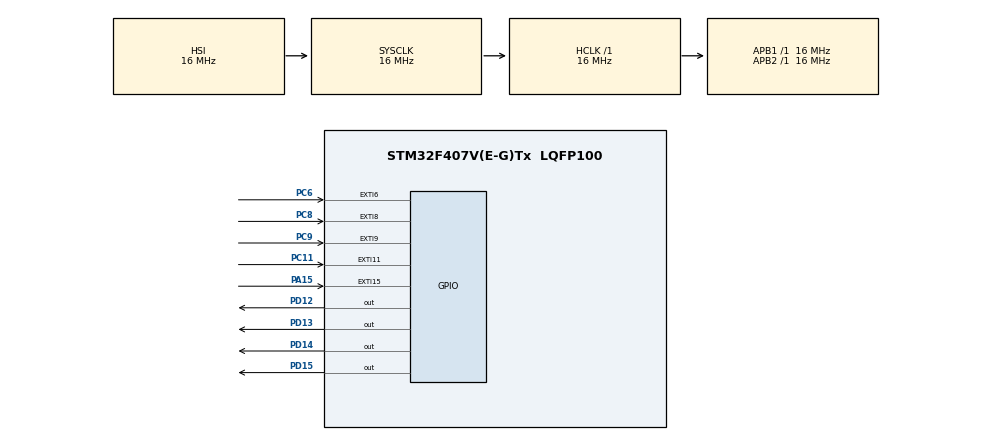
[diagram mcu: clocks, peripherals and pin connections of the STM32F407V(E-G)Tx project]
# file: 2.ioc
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Mcu.Family=STM32F4
Mcu.Name=STM32F407V(E-G)Tx
Mcu.Package=LQFP100
NVIC.EXTI15_10_IRQn=true\:0\:0\:false\:false\:true\:true\:true
NVIC.EXTI9_5_IRQn=true\:0\:0\:false\:false\:true\:true\:true
NVIC.PriorityGroup=NVIC_PRIORITYGROUP_4
PA15.GPIO_ModeDefaultEXTI=GPIO_MODE_IT_FALLING
PA15.Signal=GPXTI15
PC11.GPIO_ModeDefaultEXTI=GPIO_MODE_IT_FALLING
PC11.Signal=GPXTI11
PC6.GPIO_ModeDefaultEXTI=GPIO_MODE_IT_FALLING
PC6.Signal=GPXTI6
PC8.GPIO_ModeDefaultEXTI=GPIO_MODE_IT_FALLING
PC8.Signal=GPXTI8
PC9.GPIO_ModeDefaultEXTI=GPIO_MODE_IT_FALLING
PC9.Signal=GPXTI9
PD12.Signal=GPIO_Output
PD13.Signal=GPIO_Output
PD14.Signal=GPIO_Output
PD15.Signal=GPIO_Output
ProjectManager.HeapSize=0x200
ProjectManager.StackSize=0x400
ProjectManager.TargetToolchain=STM32CubeIDE
RCC.AHBFreq_Value=16000000
RCC.APB1Freq_Value=16000000
RCC.APB2Freq_Value=16000000
RCC.CortexFreq_Value=16000000
RCC.HSE_VALUE=25000000
RCC.HSI_VALUE=16000000
RCC.LSE_VALUE=32768
RCC.SYSCLKFreq_VALUE=16000000
RCC.VCOOutputFreq_Value=192000000
board=custom

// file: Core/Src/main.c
/* USER CODE BEGIN Header */
/**
  ******************************************************************************
  * @file           : main.c
  * @brief          : Main program body
  ******************************************************************************
  * @attention
  *
  * <h2><center>&copy; Copyright (c) 2021 STMicroelectronics.
  * All rights reserved.</center></h2>
  *
  * This software component is licensed by ST under BSD 3-Clause license,
  * the "License"; You may not use this file except in compliance with the
  * License. You may obtain a copy of the License at:
  *                        opensource.org/licenses/BSD-3-Clause
  *
  ******************************************************************************
  */
/* USER CODE END Header */
#include "main.h"

/* USER CODE BEGIN PV */
	uint8_t last_state = 1;
	uint16_t speed = 100;
	uint16_t LD_Pin = GPIO_PIN_12;
	enum States{
		on_off,
		state_1,
		state_2,
		state_3,
		state_4
	}state;

/* USER CODE END PV */

void SystemClock_Config(void);
static void MX_GPIO_Init(void);

/* USER CODE BEGIN 0 */
void HAL_GPIO_EXTI_Callback(uint16_t GPIO_Pin){
	  switch(GPIO_Pin){
	  	  case GPIO_PIN_11:
	  		  if(state == 0) break;
	  		  if(state == 4) state = 0;
	  		  state += 1;
	  		  break;
	  	  case GPIO_PIN_9:
	  		  if(state == 0) break;
	  		  if(state == 1) state = 5;
	  		  state -= 1;
	  		  break;
	  	  case GPIO_PIN_8:
	  		  if(state == 0) break;
	  		  speed += 20;
	  		  break;
	  	  case GPIO_PIN_6:
	  		  if(state == 0) break;
	  		  if(speed > 20)
	  		  speed -= 20;
	  		  break;
	  	  case GPIO_PIN_15:
	  		  if(state == 0){
	  			  state = last_state;
	  			  break;
	  		  }
	  		  last_state = state;
	  		  state = 0;
	  		  break;
	  }
  }
/* USER CODE END 0 */

int main(void)
{

  /* MCU Configuration--------------------------------------------------------*/

  /* Reset of all peripherals, Initializes the Flash interface and the Systick. */
  HAL_Init();

  /* Configure the system clock */
  SystemClock_Config();

  /* Initialize all configured peripherals */
  MX_GPIO_Init();

  /* Infinite loop */
  /* USER CODE BEGIN WHILE */
  while (1)
  {
	  switch(state){
	  	  case 1:
	  		  LD_Pin = GPIO_PIN_12;
	  		  for(uint8_t i = 0; i < 4; i++){
	  			  HAL_GPIO_WritePin(GPIOD, LD_Pin, GPIO_PIN_SET);
	  			  HAL_Delay(speed);
	  			  HAL_GPIO_WritePin(GPIOD, LD_Pin, GPIO_PIN_RESET);
	  			  HAL_Delay(speed);
	  			  LD_Pin *= 2;
	  		  }
	  		  break;
	  	  case 2:
	  		  LD_Pin = GPIO_PIN_15;
	  		  for(uint8_t i = 0; i < 4; i++){
	  			  HAL_GPIO_WritePin(GPIOD, LD_Pin, GPIO_PIN_SET);
	  			  HAL_Delay(speed);
	  			  HAL_GPIO_WritePin(GPIOD, LD_Pin, GPIO_PIN_RESET);
	  			  HAL_Delay(speed);
	  			  LD_Pin /= 2;
	  		  }
	  		  break;
	  	  case 3:
	  		  	  HAL_GPIO_WritePin(GPIOD, GPIO_PIN_15 | GPIO_PIN_14 | GPIO_PIN_13 | GPIO_PIN_12, GPIO_PIN_SET);
	  			  HAL_Delay(speed);
	  			  HAL_GPIO_WritePin(GPIOD, GPIO_PIN_15 | GPIO_PIN_14 | GPIO_PIN_13 | GPIO_PIN_12, GPIO_PIN_RESET);
	  			  HAL_Delay(speed);
	  		  break;
	  	  case 4:
	  		  LD_Pin = GPIO_PIN_12;
	  		  for(uint8_t i = 0; i < 2; i++){
	  			  HAL_GPIO_WritePin(GPIOD, LD_Pin, GPIO_PIN_SET);
	  			  HAL_Delay(speed);
	  			  HAL_GPIO_WritePin(GPIOD, LD_Pin, GPIO_PIN_RESET);
	  			  HAL_Delay(speed);
	  			  LD_Pin *= 4;
	  		  }
	  		  LD_Pin = GPIO_PIN_13;
	  		  for(uint8_t i = 0; i < 2; i++){
	  			  HAL_GPIO_WritePin(GPIOD, LD_Pin, GPIO_PIN_SET);
	  			  HAL_Delay(speed);
	  			  HAL_GPIO_WritePin(GPIOD, LD_Pin, GPIO_PIN_RESET);
	  			  HAL_Delay(speed);
	  			  LD_Pin *= 4;
	  		  }
	  		  break;
	  	  case 0:
	  		  	  HAL_GPIO_WritePin(GPIOD, GPIO_PIN_15 | GPIO_PIN_14 | GPIO_PIN_13 | GPIO_PIN_12, GPIO_PIN_RESET);

	  }
    /* USER CODE END WHILE */

  }
}

void SystemClock_Config(void)
{
  RCC_OscInitTypeDef RCC_OscInitStruct = {0};
  RCC_ClkInitTypeDef RCC_ClkInitStruct = {0};

  /** Configure the main internal regulator output voltage
  */
  __HAL_RCC_PWR_CLK_ENABLE();
  __HAL_PWR_VOLTAGESCALING_CONFIG(PWR_REGULATOR_VOLTAGE_SCALE1);
  /** Initializes the RCC Oscillators according to the specified parameters
  * in the RCC_OscInitTypeDef structure.
  */
  RCC_OscInitStruct.OscillatorType = RCC_OSCILLATORTYPE_HSI;
  RCC_OscInitStruct.HSIState = RCC_HSI_ON;
  RCC_OscInitStruct.HSICalibrationValue = RCC_HSICALIBRATION_DEFAULT;
  RCC_OscInitStruct.PLL.PLLState = RCC_PLL_NONE;
  if (HAL_RCC_OscConfig(&RCC_OscInitStruct) != HAL_OK)
  {
    Error_Handler();
  }
  /** Initializes the CPU, AHB and APB buses clocks
  */
  RCC_ClkInitStruct.ClockType = RCC_CLOCKTYPE_HCLK|RCC_CLOCKTYPE_SYSCLK
                              |RCC_CLOCKTYPE_PCLK1|RCC_CLOCKTYPE_PCLK2;
  RCC_ClkInitStruct.SYSCLKSource = RCC_SYSCLKSOURCE_HSI;
  RCC_ClkInitStruct.AHBCLKDivider = RCC_SYSCLK_DIV1;
  RCC_ClkInitStruct.APB1CLKDivider = RCC_HCLK_DIV1;
  RCC_ClkInitStruct.APB2CLKDivider = RCC_HCLK_DIV1;

  if (HAL_RCC_ClockConfig(&RCC_ClkInitStruct, FLASH_LATENCY_0) != HAL_OK)
  {
    Error_Handler();
  }
}

static void MX_GPIO_Init(void)
{
  GPIO_InitTypeDef GPIO_InitStruct = {0};

  /* GPIO Ports Clock Enable */
  __HAL_RCC_GPIOD_CLK_ENABLE();
  __HAL_RCC_GPIOC_CLK_ENABLE();
  __HAL_RCC_GPIOA_CLK_ENABLE();

  /*Configure GPIO pin Output Level */
  HAL_GPIO_WritePin(GPIOD, GPIO_PIN_12|GPIO_PIN_13|GPIO_PIN_14|GPIO_PIN_15, GPIO_PIN_RESET);

  /*Configure GPIO pins : PD12 PD13 PD14 PD15 */
  GPIO_InitStruct.Pin = GPIO_PIN_12|GPIO_PIN_13|GPIO_PIN_14|GPIO_PIN_15;
  GPIO_InitStruct.Mode = GPIO_MODE_OUTPUT_PP;
  GPIO_InitStruct.Pull = GPIO_NOPULL;
  GPIO_InitStruct.Speed = GPIO_SPEED_FREQ_LOW;
  HAL_GPIO_Init(GPIOD, &GPIO_InitStruct);

  /*Configure GPIO pins : PC6 PC8 PC9 PC11 */
  GPIO_InitStruct.Pin = GPIO_PIN_6|GPIO_PIN_8|GPIO_PIN_9|GPIO_PIN_11;
  GPIO_InitStruct.Mode = GPIO_MODE_IT_FALLING;
  GPIO_InitStruct.Pull = GPIO_NOPULL;
  HAL_GPIO_Init(GPIOC, &GPIO_InitStruct);

  /*Configure GPIO pin : PA15 */
  GPIO_InitStruct.Pin = GPIO_PIN_15;
  GPIO_InitStruct.Mode = GPIO_MODE_IT_FALLING;
  GPIO_InitStruct.Pull = GPIO_NOPULL;
  HAL_GPIO_Init(GPIOA, &GPIO_InitStruct);

  /* EXTI interrupt init*/
  HAL_NVIC_SetPriority(EXTI9_5_IRQn, 0, 0);
  HAL_NVIC_EnableIRQ(EXTI9_5_IRQn);

  HAL_NVIC_SetPriority(EXTI15_10_IRQn, 0, 0);
  HAL_NVIC_EnableIRQ(EXTI15_10_IRQn);

}

void Error_Handler(void)
{
  __disable_irq();
  while (1)
  {
  }
}

/************************ (C) COPYRIGHT STMicroelectronics *****END OF FILE****/
